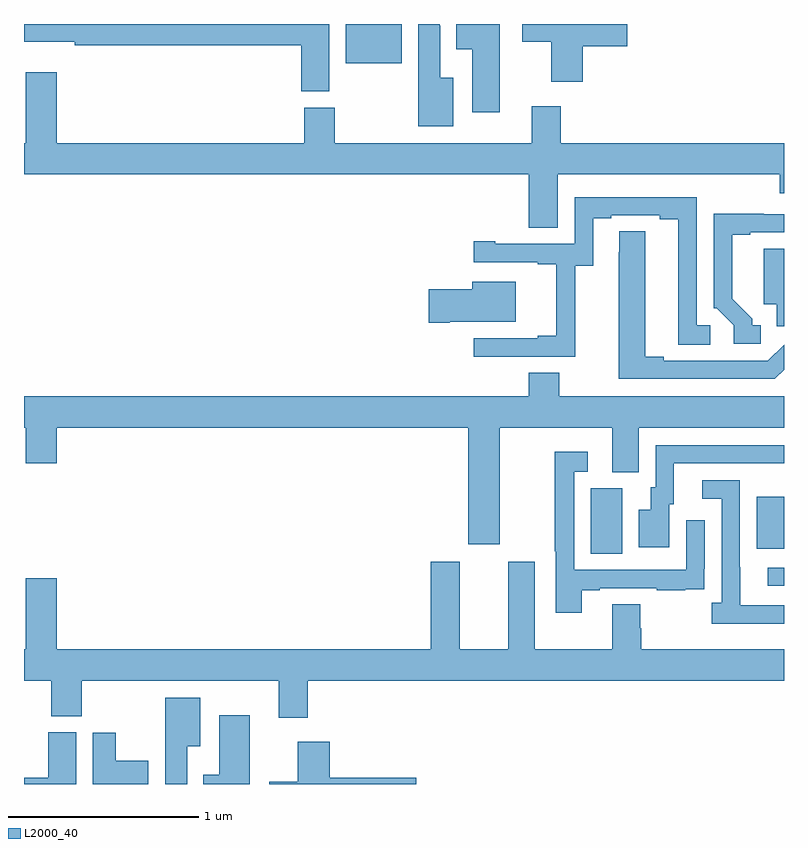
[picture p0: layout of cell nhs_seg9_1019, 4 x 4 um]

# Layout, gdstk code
import gdstk
lib = gdstk.Library(unit=1e-6, precision=1e-09)
def R(c, l, rs):  # rectangles x0, y0, x1, y1
    for r in rs: c.add(gdstk.rectangle(r[:2], r[2:], *l))
def P(c, l, *ps):  # polygons
    for p in ps: c.add(gdstk.Polygon(p, *l))
L2000_40 = (2000, 40)

nhs_seg9_1019 = lib.new_cell('nhs_seg9_1019')
R(nhs_seg9_1019, L2000_40, [(168.915,1239.543,169,1239.639), (167.984,1239.712,168.148,1240.056), (168.857,1239.737,169,1240.012), (166.694,1242.293,166.987,1242.5)])
P(nhs_seg9_1019, L2000_40, [(167.26,1242.217),(167.191,1242.217),(167.191,1242.491),(167.187,1242.491),(167.187,1242.5),(167.075,1242.5),(167.075,1241.963),(167.26,1241.963)],
  [(166.606,1242.5),(165,1242.5),(165,1242.407),(165.268,1242.407),(165.268,1242.388),(166.46,1242.388),(166.46,1242.145),(166.606,1242.145)],
  [(167.942,1242.383),(168.175,1242.383),(168.175,1242.5),(167.622,1242.5),(167.622,1242.406),(167.774,1242.406),(167.774,1242.195),(167.942,1242.195)],
  [(167.503,1242.499),(167.276,1242.499),(167.276,1242.368),(167.36,1242.368),(167.36,1242.036),(167.503,1242.036)],
  [(167.809,1241.708),(168.977,1241.708),(168.977,1241.61),(169,1241.61),(169,1241.872),(167.825,1241.872),(167.825,1242.067),(167.672,1242.067),(167.672,1241.872),(166.635,1241.872),(166.635,1242.06),(166.475,1242.06),(166.475,1241.872),(165.172,1241.872),(165.172,1242.247),(165.008,1242.247),(165.008,1241.872),(165,1241.872),(165,1241.708),(167.657,1241.708),(167.657,1241.428),(167.809,1241.428)],
  [(167.901,1241.227),(167.995,1241.227),(167.995,1241.478),(168.091,1241.478),(168.091,1241.493),(168.347,1241.493),(168.347,1241.473),(168.443,1241.473),(168.443,1240.813),(168.613,1240.813),(168.613,1240.914),(168.54,1240.914),(168.54,1241.589),(167.898,1241.589),(167.898,1241.343),(167.479,1241.343),(167.479,1241.356),(167.367,1241.356),(167.367,1241.247),(167.705,1241.247),(167.705,1241.235),(167.801,1241.235),(167.801,1240.858),(167.705,1240.858),(167.705,1240.845),(167.367,1240.845),(167.367,1240.749),(167.901,1240.749)],
  [(168.877,1240.914),(168.832,1240.914),(168.832,1240.949),(168.727,1241.054),(168.727,1241.391),(168.823,1241.391),(168.823,1241.403),(169,1241.403),(169,1241.499),(168.893,1241.499),(168.893,1241.501),(168.63,1241.501),(168.63,1241.004),(168.645,1241.004),(168.735,1240.914),(168.735,1240.818),(168.877,1240.818)],
  [(169,1240.681),(169,1240.813),(168.915,1240.728),(168.367,1240.728),(168.367,1240.748),(168.271,1240.748),(168.271,1241.408),(168.132,1241.408),(168.132,1241.3),(168.131,1241.3),(168.131,1240.632),(168.951,1240.632)],
  [(169,1241.318),(168.893,1241.318),(168.893,1241.024),(168.962,1241.024),(168.962,1240.909),(169,1240.909)],
  [(167.242,1240.934),(167.587,1240.934),(167.587,1241.143),(167.36,1241.143),(167.36,1241.105),(167.13,1241.105),(167.13,1240.927),(167.242,1240.927)],
  [(167.503,1240.376),(168.095,1240.376),(168.095,1240.141),(168.235,1240.141),(168.235,1240.376),(169,1240.376),(169,1240.54),(167.817,1240.54),(167.817,1240.664),(167.657,1240.664),(167.657,1240.54),(165,1240.54),(165,1240.376),(165.008,1240.376),(165.008,1240.188),(165.172,1240.188),(165.172,1240.376),(167.339,1240.376),(167.339,1239.762),(167.503,1239.762)],
  [(168.397,1239.972),(168.421,1239.972),(168.421,1240.188),(169,1240.188),(169,1240.284),(168.324,1240.284),(168.324,1240.062),(168.299,1240.062),(168.299,1239.943),(168.236,1239.943),(168.236,1239.747),(168.397,1239.747)],
  [(167.935,1239.519),(168.031,1239.519),(168.031,1239.531),(168.331,1239.531),(168.331,1239.519),(168.479,1239.519),(168.479,1239.525),(168.581,1239.525),(168.581,1239.634),(168.582,1239.634),(168.582,1239.889),(168.486,1239.889),(168.486,1239.627),(167.895,1239.627),(167.895,1240.143),(167.968,1240.143),(167.968,1240.249),(167.794,1240.249),(167.794,1239.724),(167.799,1239.724),(167.799,1239.402),(167.935,1239.402)],
  [(169,1239.441),(168.769,1239.441),(168.769,1239.641),(168.768,1239.641),(168.768,1240.098),(168.57,1240.098),(168.57,1240.002),(168.672,1240.002),(168.672,1239.454),(168.621,1239.454),(168.621,1239.344),(169,1239.344)],
  [(166.493,1239.044),(169,1239.044),(169,1239.208),(168.248,1239.208),(168.248,1239.321),(168.243,1239.321),(168.243,1239.446),(168.095,1239.446),(168.095,1239.208),(167.689,1239.208),(167.689,1239.67),(167.549,1239.67),(167.549,1239.208),(167.293,1239.208),(167.293,1239.67),(167.141,1239.67),(167.141,1239.208),(165.172,1239.208),(165.172,1239.583),(165.008,1239.583),(165.008,1239.208),(165,1239.208),(165,1239.044),(165.143,1239.044),(165.143,1238.857),(165.303,1238.857),(165.303,1239.044),(166.34,1239.044),(166.34,1238.85),(166.493,1238.85)],
  [(165.859,1238.699),(165.928,1238.699),(165.928,1238.953),(165.743,1238.953),(165.743,1238.5),(165.859,1238.5)],
  [(166.189,1238.863),(166.028,1238.863),(166.028,1238.548),(165.944,1238.548),(165.944,1238.5),(166.189,1238.5)],
  [(165.274,1238.772),(165.128,1238.772),(165.128,1238.534),(165,1238.534),(165,1238.5),(165.274,1238.5)],
  [(165.655,1238.623),(165.484,1238.623),(165.484,1238.77),(165.362,1238.77),(165.362,1238.5),(165.655,1238.5)],
  [(167.065,1238.534),(166.61,1238.534),(166.61,1238.722),(166.442,1238.722),(166.442,1238.511),(166.29,1238.511),(166.29,1238.5),(167.065,1238.5)])

lib.write_gds('nhs_seg9_1019.gds')
